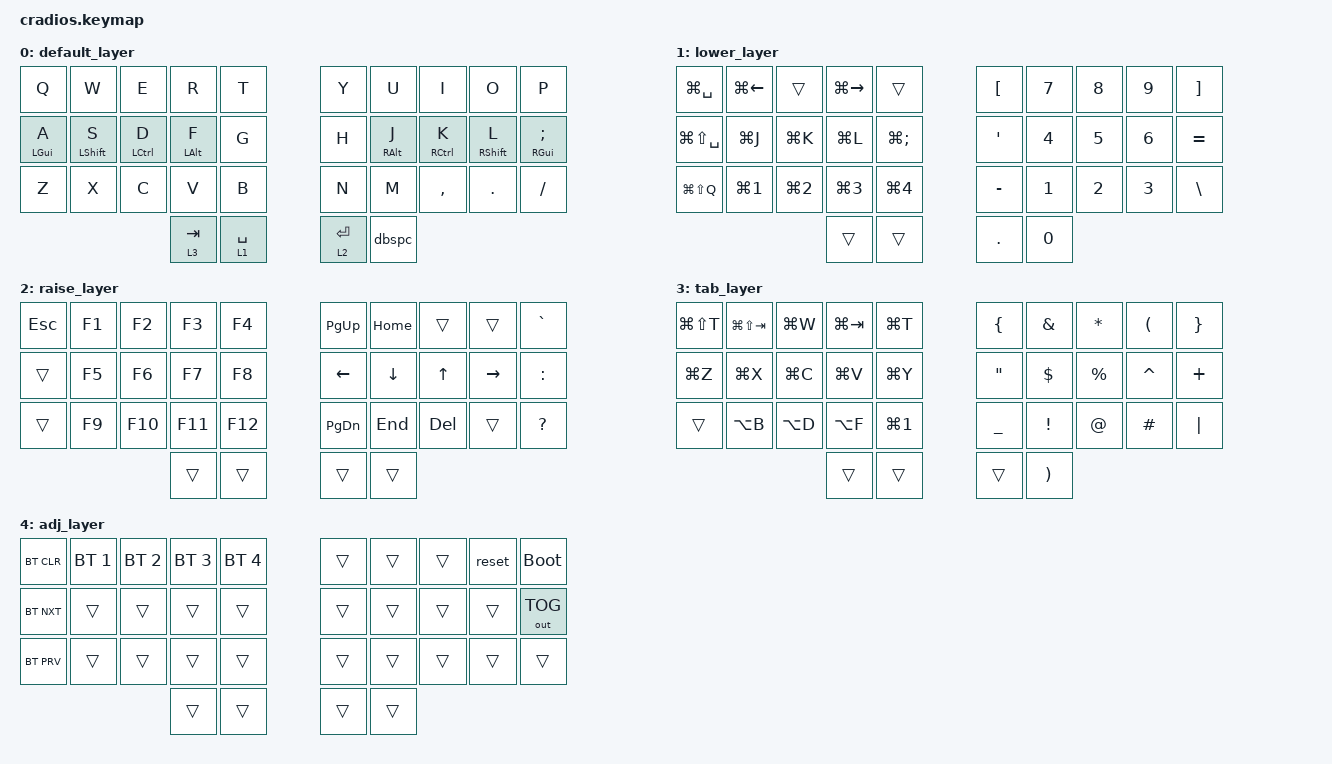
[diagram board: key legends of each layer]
/*
 * Copyright (c) 2020 The ZMK Contributors
 *
 * SPDX-License-Identifier: MIT
 */

#include <behaviors.dtsi>
#include <dt-bindings/zmk/keys.h>
#include <dt-bindings/zmk/bt.h>
#include <dt-bindings/zmk/outputs.h>

&lt { quick_tap_ms = <200>; };

/ {
    behaviors {
      hm: homerow_mods {
        compatible = "zmk,behavior-hold-tap";
        label = "HOMEROW_MODS";
        #binding-cells = <2>;
        tapping-term-ms = <230>;
        quick_tap_ms = <0>;
        flavor = "tap-preferred";
        bindings = <&kp>, <&kp>;
      };
      gresc: grave_escape {
        compatible = "zmk,behavior-mod-morph";
        label = "GRAVE_ESCAPE";
        #binding-cells = <0>;
        bindings = <&kp ESC>, <&kp GRAVE>;
        mods = <(MOD_LGUI|MOD_LSFT|MOD_RGUI|MOD_RSFT)>;
      };
      dbspc: del_backspace {
        compatible = "zmk,behavior-mod-morph";
        label = "DEL_BACKSPACE";
        #binding-cells = <0>;
        bindings = <&kp BSPC>, <&kp DEL>;
        mods = <(MOD_LSFT|MOD_RSFT)>;
      };
    };
    {
    conditional_layers {
        compatible = "zmk,conditional-layers";
        tri_layer {
            if-layers = <1 3>;
            then-layer = <4>;
        };
    };
};
    keymap {
      compatible = "zmk,keymap";
      default_layer {
        bindings = <
    &kp Q       &kp W        &kp E        &kp R       &kp T                &kp Y      &kp U       &kp I          &kp O         &kp P
    &hm LGUI A  &hm LSHFT S  &hm LCTRL D  &hm LALT F  &kp G                &kp H      &hm RALT J  &hm RCTRL K    &hm RSHFT L   &hm RGUI SEMI
    &kp Z       &kp X        &kp C        &kp V       &kp B                &kp N      &kp M       &kp COMMA      &kp DOT       &kp FSLH
                                          &lt 3 TAB   &lt 1 SPC            &lt 2 RET  &dbspc
        >;
      };
      lower_layer {
        bindings = <
    &kp LG(SPC)     &kp LG(LEFT)  &trans      &kp LG(RIGHT)  &trans             &kp LBKT  &kp N7  &kp N8 &kp N9 &kp RBKT
    &kp LG(LS(SPC)) &kp LG(J)     &kp LG(K)   &kp LG(L)      &kp LG(SEMI)       &kp SQT   &kp N4	&kp N5 &kp N6 &kp EQUAL
    &kp LG(LS(Q))   &kp LG(N1)    &kp LG(N2)  &kp LG(N3)     &kp LG(N4)         &kp MINUS &kp N1  &kp N2 &kp N3 &kp BSLH
                                            &trans     &trans             &kp DOT   &kp N0
        >;
      };
      raise_layer {
        bindings = <
    &kp ESC  &kp F1		&kp F2   &kp F3 	&kp F4     &kp PG_UP   &kp HOME 	&trans   &trans 		&kp GRAVE
    &trans   &kp F5		&kp F6   &kp F7 	&kp	F8     &kp LEFT    &kp DOWN 	&kp UP   &kp RIGHT 	&kp COLON
    &trans   &kp F9		&kp F10  &kp F11 	&kp F12    &kp PG_DN   &kp END 	  &kp DEL  &trans 	  &kp QMARK
                               &trans    &trans     &trans     &trans
        >;
      };
      tab_layer {
          bindings = <
    &kp LG(LS(T)) &kp LG(LS(TAB)) &kp LG(W) &kp LG(TAB) &kp LG(T)     &kp LBRC  &kp AMPS  &kp ASTRK  &kp LPAR  &kp RBRC
    &kp LG(Z)     &kp LG(X)       &kp LG(C) &kp LG(V)   &kp LG(Y)     &kp DQT   &kp DLLR  &kp PRCNT  &kp CARET &kp PLUS
    &trans        &kp LA(B)       &kp LA(D) &kp LA(F)   &kp LG(N1)    &kp UNDER &kp EXCL  &kp AT     &kp HASH  &kp PIPE
                                            &trans      &trans        &trans    &kp RPAR
          >;
        };
      adj_layer {
          bindings = <
    &bt BT_CLR &bt BT_SEL 1    &bt BT_SEL 2   &bt BT_SEL 3   &bt BT_SEL 4     &trans    &trans    &trans    &reset    &bootloader
    &bt BT_NXT &trans          &trans         &trans    		 &trans    				&trans    &trans    &trans    &trans    &out OUT_TOG
    &bt BT_PRV &trans          &trans         &trans         &trans           &trans    &trans    &trans    &trans    &trans
                              								&trans    		 &trans    				&trans    &trans
          >;
        };
    };
};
